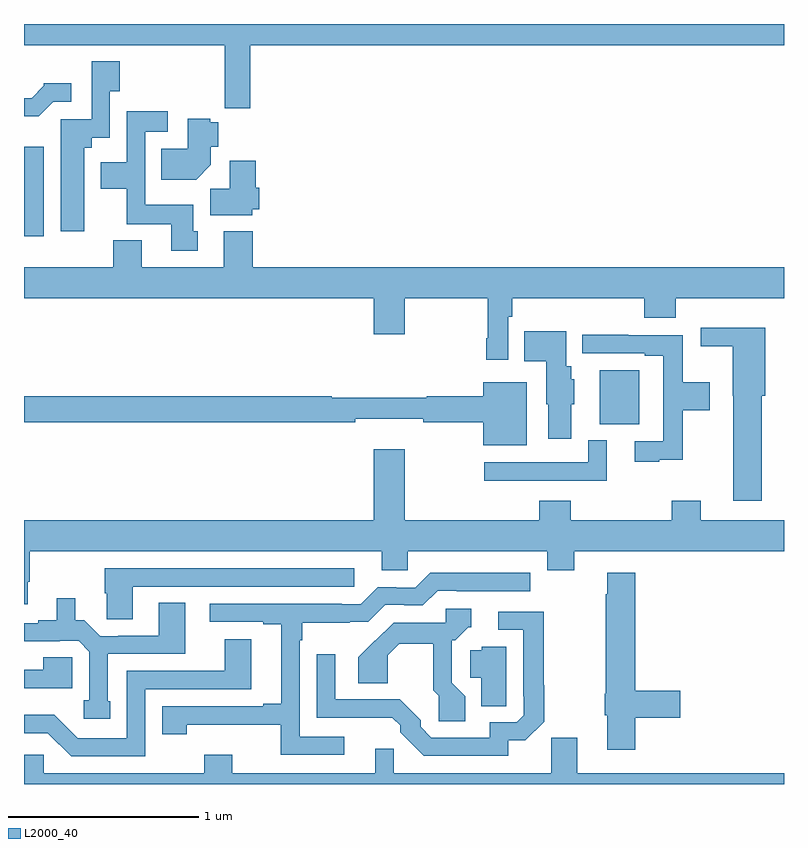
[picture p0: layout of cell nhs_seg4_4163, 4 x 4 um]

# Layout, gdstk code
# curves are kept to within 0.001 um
import gdstk
lib = gdstk.Library(unit=1e-6, precision=1e-09)
def R(c, l, rs):  # rectangles x0, y0, x1, y1
    for r in rs: c.add(gdstk.rectangle(r[:2], r[2:], *l))
def P(c, l, *ps):  # polygons
    for p in ps: c.add(gdstk.Polygon(p, *l))
L2000_40 = (2000, 40)

nhs_seg4_4163 = lib.new_cell('nhs_seg4_4163')
R(nhs_seg4_4163, L2000_40, [(334.031,826.793,334.237,827.077), (331,827.784,331.105,828.253)])
P(nhs_seg4_4163, L2000_40, [(332.192,828.788),(335,828.788),(335,828.9),(331,828.9),(331,828.788),(332.056,828.788),(332.056,828.568),(332.057,828.568),(332.057,828.456),(332.192,828.456)],
  [(331.318,828.248),(331.357,828.248),(331.357,828.302),(331.452,828.302),(331.452,828.547),(331.505,828.547),(331.505,828.703),(331.356,828.703),(331.356,828.399),(331.193,828.399),(331.193,827.808),(331.318,827.808)],
  [(331.155,828.492),(331.249,828.492),(331.249,828.589),(331.104,828.589),(331.104,828.574),(331.04,828.51),(331,828.51),(331,828.414),(331.077,828.414)],
  [(331.915,827.808),(331.891,827.808),(331.891,827.95),(331.638,827.95),(331.638,828.333),(331.756,828.333),(331.756,828.442),(331.542,828.442),(331.542,828.172),(331.403,828.172),(331.403,828.032),(331.54,828.032),(331.54,827.846),(331.775,827.846),(331.775,827.706),(331.915,827.706)],
  [(331.984,828.158),(331.984,828.254),(332.023,828.254),(332.023,828.382),(331.98,828.382),(331.98,828.402),(331.862,828.402),(331.862,828.244),(331.723,828.244),(331.723,828.08),(331.906,828.08)],
  [(332.202,827.925),(332.237,827.925),(332.237,828.039),(332.219,828.039),(332.219,828.181),(332.084,828.181),(332.084,828.032),(331.979,828.032),(331.979,827.894),(332.202,827.894)],
  [(333.549,827.36),(333.569,827.36),(333.569,827.456),(334.265,827.456),(334.265,827.354),(334.43,827.354),(334.43,827.456),(335,827.456),(335,827.62),(332.204,827.62),(332.204,827.809),(332.051,827.809),(332.051,827.62),(331.621,827.62),(331.621,827.761),(331.469,827.761),(331.469,827.62),(331,827.62),(331,827.456),(332.84,827.456),(332.84,827.268),(333.004,827.268),(333.004,827.456),(333.441,827.456),(333.441,827.245),(333.433,827.245),(333.433,827.133),(333.549,827.133)],
  [(334.883,826.944),(334.901,826.944),(334.901,827.302),(334.563,827.302),(334.563,827.204),(334.73,827.204),(334.73,826.944),(334.733,826.944),(334.733,826.392),(334.883,826.392)],
  [(333.88,826.899),(333.895,826.899),(333.895,827.031),(333.88,827.031),(333.88,827.1),(333.853,827.1),(333.853,827.284),(333.634,827.284),(333.634,827.126),(333.749,827.126),(333.749,826.899),(333.758,826.899),(333.758,826.716),(333.88,826.716)],
  [(334.343,826.607),(334.466,826.607),(334.466,826.867),(334.609,826.867),(334.609,827.014),(334.466,827.014),(334.466,827.262),(334.181,827.262),(334.181,827.264),(333.939,827.264),(333.939,827.166),(334.268,827.166),(334.268,827.154),(334.365,827.154),(334.365,826.704),(334.215,826.704),(334.215,826.596),(334.343,826.596)],
  [(333.646,827.014),(333.416,827.014),(333.416,826.94),(333.12,826.94),(333.12,826.933),(332.62,826.933),(332.62,826.94),(331,826.94),(331,826.804),(332.744,826.804),(332.744,826.823),(333.1,826.823),(333.1,826.804),(333.416,826.804),(333.416,826.682),(333.646,826.682)],
  [(334.066,826.708),(333.969,826.708),(333.969,826.593),(333.423,826.593),(333.423,826.497),(334.066,826.497)],
  [(331.021,825.964),(331.029,825.964),(331.029,826.124),(332.882,826.124),(332.882,826.026),(333.021,826.026),(333.021,826.124),(333.755,826.124),(333.755,826.025),(333.895,826.025),(333.895,826.124),(335,826.124),(335,826.288),(334.561,826.288),(334.561,826.39),(334.409,826.39),(334.409,826.288),(333.878,826.288),(333.878,826.39),(333.713,826.39),(333.713,826.288),(333.004,826.288),(333.004,826.663),(332.84,826.663),(332.84,826.288),(331,826.288),(331,825.846),(331.021,825.846)],
  [(331.573,825.939),(332.737,825.939),(332.737,826.035),(331.426,826.035),(331.426,825.903),(331.435,825.903),(331.435,825.766),(331.573,825.766)],
  [(334.217,825.25),(334.453,825.25),(334.453,825.392),(334.217,825.392),(334.217,826.012),(334.07,826.012),(334.07,825.899),(334.063,825.899),(334.063,825.375),(334.057,825.375),(334.057,825.261),(334.07,825.261),(334.07,825.081),(334.217,825.081)],
  [(332.686,825.15),(332.451,825.15),(332.451,825.656),(332.464,825.656),(332.464,825.75),(332.714,825.75),(332.714,825.753),(332.811,825.753),(332.901,825.843),(333.002,825.843),(333.002,825.84),(333.099,825.84),(333.177,825.918),(333.277,825.918),(333.277,825.915),(333.664,825.915),(333.664,826.011),(333.139,826.012),(333.06,825.933),(332.96,825.933),(332.96,825.936),(332.862,825.936),(332.772,825.846),(332.672,825.846),(332.672,825.849),(331.977,825.849),(331.977,825.753),(332.258,825.753),(332.258,825.741),(332.354,825.741),(332.354,825.322),(332.258,825.322),(332.258,825.309),(331.728,825.309),(331.728,825.162),(331.856,825.162),(331.856,825.212),(332.35,825.212),(332.35,825.054),(332.686,825.054)],
  [(331.453,825.336),(331.44,825.336),(331.44,825.585),(331.849,825.585),(331.849,825.854),(331.709,825.854),(331.709,825.681),(331.495,825.681),(331.495,825.678),(331.401,825.678),(331.317,825.762),(331.27,825.762),(331.27,825.877),(331.172,825.877),(331.172,825.762),(331.076,825.762),(331.076,825.747),(331,825.747),(331,825.651),(331.187,825.651),(331.187,825.654),(331.287,825.654),(331.344,825.597),(331.344,825.342),(331.314,825.342),(331.314,825.243),(331.453,825.243)],
  [(333.322,825.362),(333.252,825.432),(333.252,825.657),(333.27,825.657),(333.339,825.726),(333.355,825.726),(333.355,825.822),(333.219,825.822),(333.219,825.75),(332.945,825.75),(332.848,825.653),(332.847,825.654),(332.76,825.566),(332.76,825.43),(332.914,825.43),(332.914,825.578),(332.975,825.639),(333.154,825.639),(333.154,825.394),(333.183,825.365),(333.183,825.231),(333.322,825.231)],
  [(333.549,825.129),(333.638,825.129),(333.738,825.228),(333.738,825.419),(333.736,825.419),(333.736,825.807),(333.495,825.807),(333.495,825.711),(333.627,825.711),(333.627,825.361),(333.63,825.361),(333.63,825.261),(333.594,825.225),(333.45,825.225),(333.45,825.144),(333.144,825.144),(333.087,825.201),(333.087,825.235),(332.977,825.345),(332.637,825.345),(332.637,825.583),(332.541,825.583),(332.541,825.249),(332.938,825.248),(332.979,825.208),(332.979,825.173),(333.104,825.048),(333.549,825.048)],
  [(331.638,825.399),(332.197,825.399),(332.197,825.661),(332.057,825.661),(332.057,825.495),(331.542,825.495),(331.542,825.141),(331.284,825.141),(331.16,825.265),(331,825.265),(331,825.168),(331.125,825.168),(331.248,825.045),(331.638,825.045)],
  [(333.537,825.622),(333.408,825.622),(333.408,825.603),(333.348,825.603),(333.348,825.458),(333.407,825.458),(333.407,825.31),(333.537,825.31)],
  [(331.145,825.405),(331.255,825.405),(331.255,825.566),(331.102,825.566),(331.102,825.501),(331,825.501),(331,825.404),(331.145,825.404)],
  [(335,824.956),(333.913,824.956),(333.913,825.144),(333.775,825.144),(333.775,824.956),(332.945,824.956),(332.945,825.086),(332.849,825.086),(332.849,824.956),(332.095,824.956),(332.095,825.055),(331.948,825.055),(331.948,824.956),(331.104,824.956),(331.104,825.054),(331,825.054),(331,824.9),(335,824.9)])

lib.write_gds('nhs_seg4_4163.gds')
